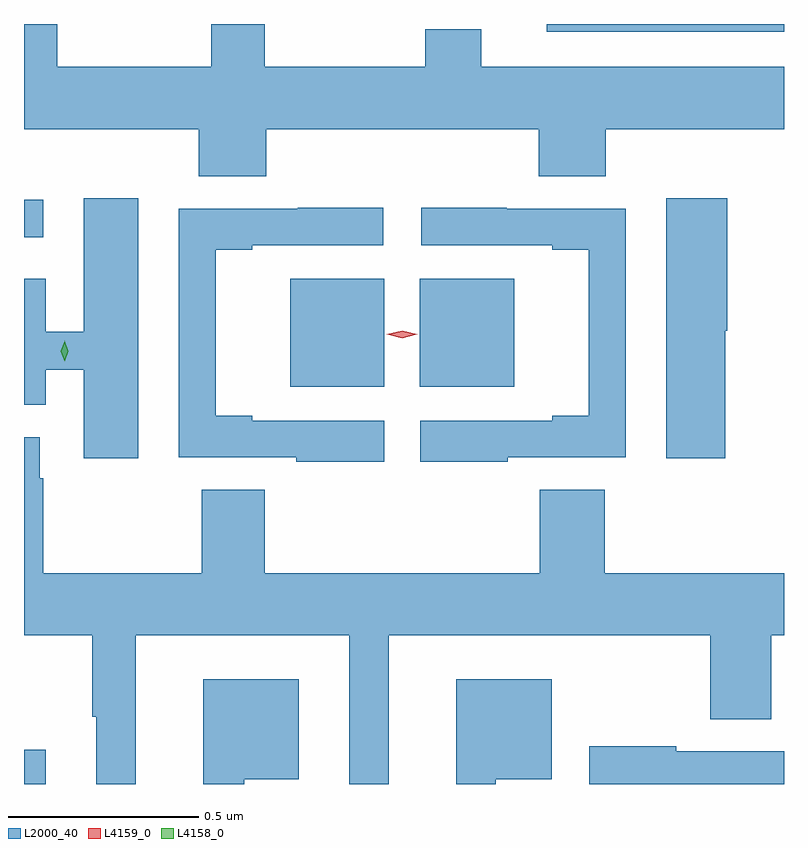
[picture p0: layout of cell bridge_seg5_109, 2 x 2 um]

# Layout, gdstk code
import gdstk
lib = gdstk.Library(unit=1e-6, precision=1e-09)
def R(c, l, rs):  # rectangles x0, y0, x1, y1
    for r in rs: c.add(gdstk.rectangle(r[:2], r[2:], *l))
def P(c, l, *ps):  # polygons
    for p in ps: c.add(gdstk.Polygon(p, *l))
L2000_40 = (2000, 40)
L4158_0 = (4158, 0)
L4159_0 = (4159, 0)

bridge_seg5_109 = lib.new_cell('bridge_seg5_109')
R(bridge_seg5_109, L2000_40, [(450.253,873.685,450.31,873.775), (450.953,874.73,451.201,875.014), (451.295,874.73,451.543,875.014), (450.253,875.124,450.304,875.222), (451.628,875.664,452.253,875.685)])
P(bridge_seg5_109, L2000_40, [(450.89,875.408),(451.607,875.408),(451.607,875.284),(451.784,875.284),(451.784,875.408),(452.253,875.408),(452.253,875.572),(451.456,875.572),(451.456,875.671),(451.309,875.671),(451.309,875.572),(450.886,875.572),(450.886,875.685),(450.746,875.685),(450.746,875.572),(450.34,875.572),(450.34,875.685),(450.253,875.685),(450.253,875.408),(450.713,875.408),(450.713,875.284),(450.89,875.284)],
  [(450.553,875.227),(450.41,875.227),(450.41,874.875),(450.31,874.875),(450.31,875.014),(450.253,875.014),(450.253,874.683),(450.31,874.683),(450.31,874.775),(450.41,874.775),(450.41,874.542),(450.553,874.542)],
  [(452.099,874.878),(452.104,874.878),(452.104,875.227),(451.943,875.227),(451.943,874.542),(452.099,874.542)],
  [(451.201,874.641),(450.853,874.641),(450.853,874.654),(450.758,874.654),(450.758,875.091),(450.853,875.091),(450.853,875.103),(451.198,875.103),(451.198,875.201),(450.973,875.201),(450.973,875.199),(450.66,875.199),(450.66,874.545),(450.97,874.545),(450.97,874.533),(451.201,874.533)],
  [(451.526,874.545),(451.836,874.545),(451.836,875.199),(451.523,875.199),(451.523,875.201),(451.299,875.201),(451.299,875.103),(451.643,875.103),(451.643,875.091),(451.739,875.091),(451.739,874.654),(451.643,874.654),(451.643,874.641),(451.296,874.641),(451.296,874.533),(451.526,874.533)],
  [(451.781,874.46),(451.61,874.46),(451.61,874.24),(450.887,874.24),(450.887,874.46),(450.721,874.46),(450.721,874.24),(450.303,874.24),(450.303,874.49),(450.295,874.49),(450.295,874.597),(450.253,874.597),(450.253,874.076),(450.433,874.076),(450.433,873.862),(450.443,873.862),(450.443,873.685),(450.547,873.685),(450.547,874.076),(451.109,874.076),(451.109,873.685),(451.213,873.685),(451.213,874.076),(452.059,874.076),(452.059,873.856),(452.22,873.856),(452.22,874.076),(452.253,874.076),(452.253,874.24),(451.781,874.24)],
  [(451.495,873.698),(451.642,873.698),(451.642,873.961),(451.391,873.961),(451.391,873.685),(451.495,873.685)],
  [(450.832,873.698),(450.976,873.698),(450.976,873.961),(450.725,873.961),(450.725,873.685),(450.832,873.685)],
  [(452.253,873.771),(451.97,873.771),(451.97,873.784),(451.74,873.784),(451.74,873.685),(452.253,873.685)])
P(bridge_seg5_109, L4158_0, [(450.36,874.798),(450.36,874.798),(450.35,874.824),(450.36,874.85),(450.36,874.851),(450.36,874.85),(450.37,874.824),(450.36,874.798)])
P(bridge_seg5_109, L4159_0, [(451.248,874.858),(451.208,874.868),(451.208,874.868),(451.208,874.869),(451.248,874.878),(451.288,874.869),(451.288,874.868),(451.288,874.868)])

lib.write_gds('bridge_seg5_109.gds')
